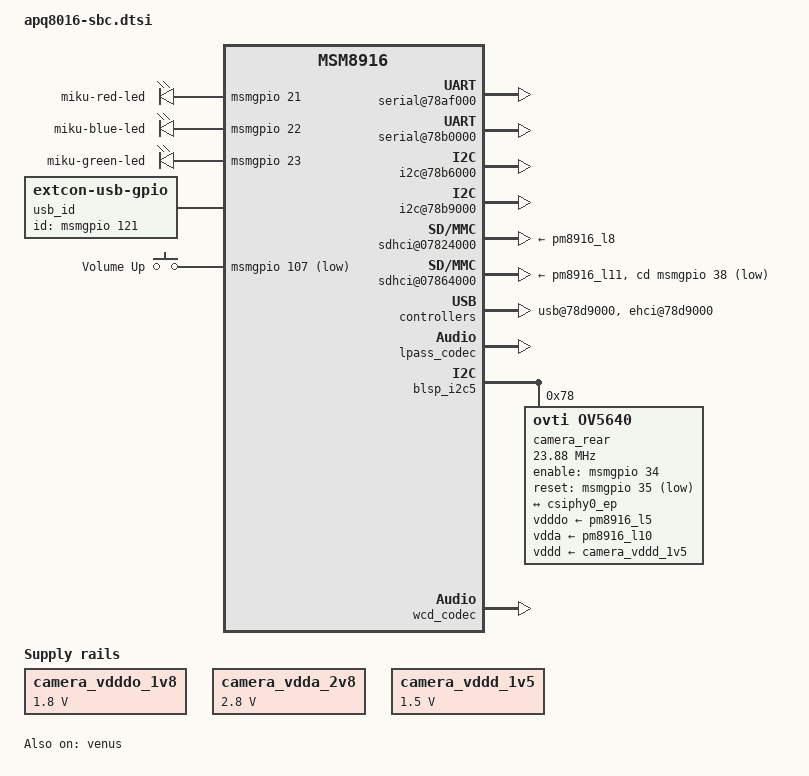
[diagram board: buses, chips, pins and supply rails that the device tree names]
/*
 * Copyright (c) 2015, The Linux Foundation. All rights reserved.
 *
 * This program is free software; you can redistribute it and/or modify
 * it under the terms of the GNU General Public License version 2 and
 * only version 2 as published by the Free Software Foundation.
 *
 * This program is distributed in the hope that it will be useful,
 * but WITHOUT ANY WARRANTY; without even the implied warranty of
 * MERCHANTABILITY or FITNESS FOR A PARTICULAR PURPOSE.  See the
 * GNU General Public License for more details.
 */

#include <dt-bindings/gpio/gpio.h>
#include <dt-bindings/input/input.h>
#include <dt-bindings/sound/apq8016-lpass.h>
#include "msm8916.dtsi"
#include "pm8916.dtsi"
#include "apq8016-sbc-soc-pins.dtsi"
#include "apq8016-sbc-pmic-pins.dtsi"
#include <dt-bindings/gpio/gpio.h>
#include <dt-bindings/input/input.h>
#include <dt-bindings/sound/apq8016-lpass.h>

/ {
	aliases {
		serial0 = &blsp1_uart2;
		serial1 = &blsp1_uart1;
		usid0 = &pm8916_0;
		i2c0	= &blsp_i2c2;
		i2c1	= &blsp_i2c5;
	};

	chosen {
		stdout-path = "serial0";
	};

	soc {
		dma@7884000 {
			status = "okay";
		};

		serial@78af000 {
			label = "LS-UART0";
			status = "okay";
			pinctrl-names = "default", "sleep";
			pinctrl-0 = <&blsp1_uart1_default>;
			pinctrl-1 = <&blsp1_uart1_sleep>;
		};

		serial@78b0000 {
			label = "LS-UART1";
			status = "okay";
			pinctrl-names = "default", "sleep";
			pinctrl-0 = <&blsp1_uart2_default>;
			pinctrl-1 = <&blsp1_uart2_sleep>;
		};

		i2c@78b6000 {
		/* On Low speed expansion */
			label = "LS-I2C0";
			status = "okay";
		};


		i2c@78b9000 {
		/* On Low speed expansion */
			label = "LS-I2C1";
			status = "okay";
		};


		leds {
			pinctrl-names = "default";
			pinctrl-0 = <&msmgpio_leds>,
				    <&pm8916_gpios_leds>,
				    <&pm8916_mpps_leds>;

			compatible = "gpio-leds";

			led@1 {
				label = "miku-red-led";
				gpios = <&msmgpio 21 GPIO_ACTIVE_HIGH>;
				linux,default-trigger = "none";
				default-state = "on";
			};

			led@2 {
				label = "miku-blue-led";
				gpios = <&msmgpio 22 GPIO_ACTIVE_HIGH>;
				linux,default-trigger = "none";
				default-state = "off";
			};

			led@3 {
				label = "miku-green-led";
				gpios = <&msmgpio 23 GPIO_ACTIVE_HIGH>;
				linux,default-trigger = "none";
				default-state = "off";
			};
		};


		sdhci@07824000 {
			vmmc-supply = <&pm8916_l8>;
			vqmmc-supply = <&pm8916_l5>;

			pinctrl-names = "default", "sleep";
			pinctrl-0 = <&sdc1_clk_on &sdc1_cmd_on &sdc1_data_on>;
			pinctrl-1 = <&sdc1_clk_off &sdc1_cmd_off &sdc1_data_off>;
			status = "okay";
		};

		sdhci@07864000 {
			vmmc-supply = <&pm8916_l11>;
			vqmmc-supply = <&pm8916_l12>;

			pinctrl-names = "default", "sleep";
			pinctrl-0 = <&sdc2_clk_on &sdc2_cmd_on &sdc2_data_on &sdc2_cd_on>;
			pinctrl-1 = <&sdc2_clk_off &sdc2_cmd_off &sdc2_data_off &sdc2_cd_off>;

			cd-gpios = <&msmgpio 38 0x1>;
			status = "okay";
		};

		usb@78d9000 {
			extcon = <&usb_id>, <&usb_id>;
			status = "okay";
		};

		ehci@78d9000 {
			status = "okay";
		};

		phy@78d9000 {
			v1p8-supply = <&pm8916_l7>;
			v3p3-supply = <&pm8916_l13>;
			vddcx-supply = <&pm8916_s1>;
			extcon = <&usb_id>, <&usb_id>;
			dr_mode = "host";
			status = "okay";
			switch-gpio = <&pm8916_gpios 4 GPIO_ACTIVE_HIGH>;
			pinctrl-names = "default";
			pinctrl-0 = <&usb_sw_sel_pm>;
		};

		lpass@07708000 {
			status = "okay";
		};

		mdss@1a00000 {
			status = "okay";

			mdp@1a01000 {
				status = "okay";
			};

			dsi@1a98000 {
				status = "disabled";
			};

			dsi-phy@1a98300 {
				status = "okay";

				vddio-supply = <&pm8916_l6>;
			};
		};

		lpass_codec: codec{
			status = "okay";
		};

		/*
		Internal Codec
			playback - Primary MI2S
			capture - Ter MI2S

		External Primary:
			playback - secondary MI2S
			capture - Quat MI2S

		External Secondary:
			playback - Quat MI2S
			capture - Quat MI2S

		*/

                sound: sound {
                        compatible = "qcom,apq8016-sbc-sndcard";
                        reg = <0x07702000 0x4>, <0x07702004 0x4>;
                        reg-names = "mic-iomux", "spkr-iomux";

                        status = "okay";
                        pinctrl-0 = <&cdc_pdm_lines_act &ext_sec_tlmm_lines_act &ext_mclk_tlmm_lines_act>;
                        pinctrl-1 = <&cdc_pdm_lines_sus &ext_sec_tlmm_lines_sus &ext_mclk_tlmm_lines_sus>;
                        pinctrl-names = "default", "sleep";
                        qcom,model = "DB410c";
                        /*qcom,audio-routing =
                                "AMIC1", "MIC BIAS External1",
                                "AMIC3", "MIC BIAS Internal1";*/

			qcom,audio-routing = 
				"MIC BIAS External1", "Handset Mic",
				"MIC BIAS Internal2", "Headset Mic",
				"MIC BIAS External1", "Secondary Mic",
				"AMIC1", "MIC BIAS External1",
				"AMIC2", "MIC BIAS Internal2",
				"AMIC3", "MIC BIAS External1",
				"DMIC1", "MIC BIAS Internal1",
				"MIC BIAS Internal1", "Digital Mic1",
				"DMIC2", "MIC BIAS Internal1",
				"MIC BIAS Internal1", "Digital Mic2";

                        internal-codec-playback-dai-link@0 {            /* I2S - Internal codec */
                                link-name = "WCD";
                                cpu { /* PRIMARY */
                                        sound-dai = <&lpass MI2S_PRIMARY>;
                                };
                                codec {
                                        sound-dai = <&lpass_codec 0>, <&wcd_codec 0>;
                                };
                        };

                        internal-codec-capture-dai-link@0 {             /* I2S - Internal codec */
                                link-name = "WCD-Capture";
                                cpu { /* PRIMARY */
                                        sound-dai = <&lpass MI2S_TERTIARY>;
                                };
                                codec {
                                        sound-dai = <&lpass_codec 1>, <&wcd_codec 1>;
                                };
                        };
                };

		wcnss@a21b000 {
			status = "okay";
		};

		camera_vdddo_1v8: fixedregulator@0 {
			compatible = "regulator-fixed";
			regulator-name = "camera_vdddo";
			regulator-min-microvolt = <1800000>;
			regulator-max-microvolt = <1800000>;
			regulator-always-on;
		};

		camera_vdda_2v8: fixedregulator@1 {
			compatible = "regulator-fixed";
			regulator-name = "camera_vdda";
			regulator-min-microvolt = <2800000>;
			regulator-max-microvolt = <2800000>;
			regulator-always-on;
		};

		camera_vddd_1v5: fixedregulator@2 {
			compatible = "regulator-fixed";
			regulator-name = "camera_vddd";
			regulator-min-microvolt = <1500000>;
			regulator-max-microvolt = <1500000>;
			regulator-always-on;
		};
	};

	/*usb2513 {
		compatible = "smsc,usb3503";
		reset-gpios = <&pm8916_gpios 3 GPIO_ACTIVE_LOW>;
		initial-mode = <1>;
	};*/

	usb_id: usb-id {
		compatible = "linux,extcon-usb-gpio";
		id-gpio = <&msmgpio 121 GPIO_ACTIVE_HIGH>;
		pinctrl-names = "default";
		pinctrl-0 = <&usb_id_default>;
	};

	gpio_keys {
		compatible = "gpio-keys";
		#address-cells = <1>;
		#size-cells = <0>;
		autorepeat;

		pinctrl-names = "default";
		pinctrl-0 = <&msm_key_volp_n_default>;

		button@0 {
			label = "Volume Up";
			linux,code = <KEY_VOLUMEUP>;
			gpios = <&msmgpio 107 GPIO_ACTIVE_LOW>;
		};
	};
};

&camss {
	ports {
		#address-cells = <1>;
		#size-cells = <0>;
		port@0 {
			reg = <0>;
			csiphy0_ep: endpoint {
				clock-lanes = <1>;
				data-lanes = <0 2>;
				qcom,settle-cnt = <0xe>;
				remote-endpoint = <&ov5645_ep>;
				status = "okay";
			};
		};
		port@1 {
			reg = <1>;
			csiphy1_ep: endpoint {
				clock-lanes = <1>;
				data-lanes = <0 2>;
				qcom,settle-cnt = <0xe>;
				remote-endpoint = <&ov5645_2_ep>;
				status = "disabled";
			};
		};
	};
};

&blsp_i2c5 {
	status = "ok";

	camera_rear@78 {
		compatible = "ovti,ov5640";
		reg = <0x78>;

		enable-gpios = <&msmgpio 34 0>;
		reset-gpios = <&msmgpio 35 1>;
		pinctrl-names = "default";
		pinctrl-0 = <&camera_rear_default>;

		clocks = <&gcc GCC_CAMSS_MCLK0_CLK>;
		clock-names = "xclk";
		clock-frequency = <23880000>;

		vdddo-supply = <&pm8916_l5>;
		vdda-supply = <&pm8916_l10>;
		vddd-supply = <&camera_vddd_1v5>;
		
		status = "okay";
                
                qcom,use_cci;

		port {
			ov5645_ep: endpoint {
				clock-lanes = <1>;
				data-lanes = <0 2>;
				remote-endpoint = <&csiphy0_ep>;
			};
		};
	};
	
	camera_front@74 {
		compatible = "ovti,ov5645";
		reg = <0x74>;

		enable-gpios = <&msmgpio 33 0>;
		reset-gpios = <&msmgpio 28 1>;
		pinctrl-names = "default";
		pinctrl-0 = <&camera_front_default>;

		clocks = <&gcc GCC_CAMSS_MCLK1_CLK>;
		clock-names = "xclk";
		clock-frequency = <23880000>;

		vdddo-supply = <&camera_vdddo_1v8>;
		vdda-supply = <&camera_vdda_2v8>;
		vddd-supply = <&camera_vddd_1v5>;

		status = "disabled";

		port {
			ov5645_2_ep: endpoint {
				clock-lanes = <1>;
				data-lanes = <0 2>;
				remote-endpoint = <&csiphy1_ep>;
			};
		};
	};
};

/*&blsp_i2c5 {
	status = "ok";

	camera_rear@78 {
		compatible = "ovti,ov5645";
		reg = <0x78>;

		enable-gpios = <&msmgpio 34 0>;
		reset-gpios = <&msmgpio 35 1>;
		pinctrl-names = "default";
		pinctrl-0 = <&camera_rear_default>;

		clocks = <&gcc GCC_CAMSS_MCLK0_CLK>;
		clock-names = "xclk";
		clock-frequency = <23880000>;

		vdddo-supply = <&pm8916_l5>;
		vdda-supply = <&pm8916_l10>;
		vddd-supply = <&camera_vddd_1v5>;
		
		status = "okay";
                
                qcom,use_cci;

		port {
			ov5645_ep: endpoint {
				clock-lanes = <1>;
				data-lanes = <0 2>;
				remote-endpoint = <&csiphy0_ep>;
			};
		};
	};
	
	camera_front@74 {
		compatible = "ovti,ov5645";
		reg = <0x74>;

		enable-gpios = <&msmgpio 33 0>;
		reset-gpios = <&msmgpio 28 1>;
		pinctrl-names = "default";
		pinctrl-0 = <&camera_front_default>;

		clocks = <&gcc GCC_CAMSS_MCLK1_CLK>;
		clock-names = "xclk";
		clock-frequency = <23880000>;

		vdddo-supply = <&camera_vdddo_1v8>;
		vdda-supply = <&camera_vdda_2v8>;
		vddd-supply = <&camera_vddd_1v5>;

		status = "disabled";

		port {
			ov5645_2_ep: endpoint {
				clock-lanes = <1>;
				data-lanes = <0 2>;
				remote-endpoint = <&csiphy1_ep>;
			};
		};
	};
};*/


&wcd_codec {
        status = "okay";
        clocks = <&gcc GCC_CODEC_DIGCODEC_CLK>;
        clock-names = "mclk";
};

&spmi_pon {
	// Overwrite RESETIN_N keyboard scan code
	linux,code = <KEY_VOLUMEDOWN>;
};

&smd_rpm_regulators {
	vdd_l1_l2_l3-supply = <&pm8916_s3>;
	vdd_l5-supply = <&pm8916_s3>;
	vdd_l4_l5_l6-supply = <&pm8916_s4>;
	vdd_l7-supply = <&pm8916_s4>;

	s1 {
		regulator-min-microvolt = <375000>;
		regulator-max-microvolt = <1562000>;
	};

	s3 {
		regulator-min-microvolt = <375000>;
		regulator-max-microvolt = <1562000>;
	};

	s4 {
		regulator-min-microvolt = <1800000>;
		regulator-max-microvolt = <1800000>;

		regulator-always-on;
		regulator-boot-on;
	};

	l1 {
		regulator-min-microvolt = <375000>;
		regulator-max-microvolt = <1525000>;
	};

	l2 {
		regulator-min-microvolt = <1200000>;
		regulator-max-microvolt = <1200000>;
	};

	l3 {
		regulator-min-microvolt = <375000>;
		regulator-max-microvolt = <1525000>;
	};

	l4 {
		regulator-min-microvolt = <1750000>;
		regulator-max-microvolt = <3337000>;
	};

	l5 {
		regulator-min-microvolt = <1800000>;
		regulator-max-microvolt = <1800000>;
		regulator-always-on;
		regulator-boot-on;
	};

	l6 {
		regulator-min-microvolt = <1800000>;
		regulator-max-microvolt = <1800000>;
		regulator-always-on;
		regulator-boot-on;

	};

	l7 {
		regulator-min-microvolt = <1750000>;
		regulator-max-microvolt = <3337000>;
	};

	l8 {
		regulator-min-microvolt = <1750000>;
		regulator-max-microvolt = <3337000>;
	};

	l9 {
		regulator-min-microvolt = <1750000>;
		regulator-max-microvolt = <3337000>;
	};

	l10 {
		regulator-min-microvolt = <2800000>;
		regulator-max-microvolt = <2800000>;
		regulator-always-on;
		regulator-boot-on;

	};

	l11 {
		regulator-min-microvolt = <1750000>;
		regulator-max-microvolt = <3337000>;
	};

	l12 {
		regulator-min-microvolt = <1750000>;
		regulator-max-microvolt = <3337000>;
	};

	l13 {
		regulator-min-microvolt = <1750000>;
		regulator-max-microvolt = <3337000>;
	};

	l14 {
		regulator-min-microvolt = <1750000>;
		regulator-max-microvolt = <3337000>;
	};

	/**
	 * 1.8v required on LS expansion
	 * for mezzanine boards
	 */
	l15 {
		regulator-min-microvolt = <1750000>;
		regulator-max-microvolt = <3337000>;
		regulator-always-on;
	};

	l16 {
		regulator-min-microvolt = <1750000>;
		regulator-max-microvolt = <3337000>;
	};

	l17 {
		regulator-min-microvolt = <3300000>;
		regulator-max-microvolt = <3300000>;
	};

	l18 {
		regulator-min-microvolt = <1750000>;
		regulator-max-microvolt = <3337000>;
	};
};

&venus {
	status = "okay";
};
